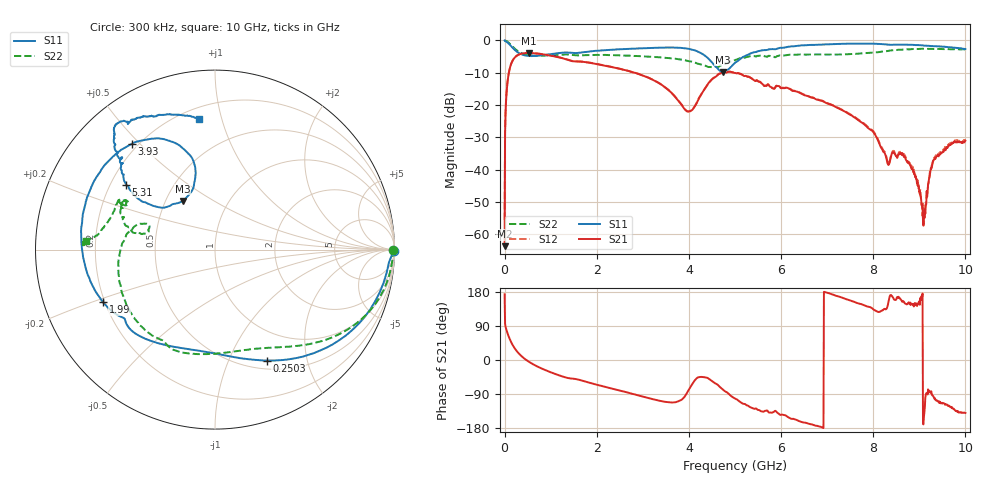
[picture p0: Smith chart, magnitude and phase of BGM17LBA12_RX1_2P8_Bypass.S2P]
!Agilent Technologies,E5071C,MY46316587,B.13.01
!Date: Fri Dec 08 10:53:09 2017
!Data & Calibration Information:
!Freq	S11:SOLT2(ON)	S21:SOLT2(ON)	S12:SOLT2(ON)	S22:SOLT2(ON)
!PortZ  Port1:50+j0  Port2:50+j0
!Above PortZ is port z conversion or system Z0 setting when saving the data.
!When reading, reference impedance value at option line is always used.
# Hz S dB R 50
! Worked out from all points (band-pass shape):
!   1001 points, 300 kHz to 10 GHz, reference 50 ohm
!   highest |S21| = -3.92 dB at 520.3 MHz (marker M1); lowest = -63.6 dB at 300 kHz (marker M2)
!   |S21| within 3 dB of the highest: 152.7 MHz to 1.832 GHz (1.679 GHz wide, 169 % of centre)
!   lowest |S11| = -9.8 dB at 4.73 GHz (marker M3), VSWR 1.96, Z = 30.6 + j18.5 ohm
!   |S11| at or under -10 dB: nowhere
!   |S22| runs from -8.3 to -0.1 dB; largest |S21 - S12| = 0.0035
!   S11 on the Smith chart (normalised r, x): 300 kHz: open; 250.3 MHz: 0.60, -1.39; 1.99 GHz: 0.19, -0.22; 3.93 GHz: 0.18, +0.47; 5.31 GHz: 0.26, +0.31; 10 GHz: 0.27, +0.85
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300000  -0.05 -0.5  -63.63 173.4  -55.45 129.5  -0.07 0.0
6.02982e7  -0.67 -21.2  -13.27 71.6  -13.19 71.6  -0.40 -16.2
7.02979e7  -0.78 -24.4  -12.05 68.1  -11.99 68.1  -0.50 -18.6
2.502925e8  -3.33 -65.1  -4.92 25.5  -4.89 25.4  -2.95 -48.7
5.202844e8  -4.83 -94.0  -3.92 -4.1  -3.90 -4.3  -4.60 -70.6
1.030269e9  -4.22 -123.0  -4.81 -33.8  -4.78 -33.9  -4.60 -98.4
1.67025e9  -3.73 -145.4  -6.61 -54.1  -6.55 -54.1  -4.63 -121.4
1.99024e9  -3.23 -154.9  -7.30 -64.9  -7.28 -64.9  -4.49 -129.8
3.3402e9  -2.27 156.7  -13.15 -107.0  -13.14 -106.6  -5.24 -169.6
3.930182e9  -2.50 128.3  -21.63 -92.6  -21.52 -92.3  -6.23 168.1
4.440167e9  -5.90 103.7  -12.97 -50.3  -12.98 -50.1  -8.26 161.1
4.730158e9  -9.77 123.5  -9.99 -77.3  -10.01 -77.3  -7.60 168.0
5.00015e9  -6.96 145.5  -10.08 -101.6  -10.05 -101.5  -6.11 165.6
5.310141e9  -4.24 143.8  -11.35 -123.1  -11.30 -122.9  -4.97 158.9
6.6701e9  -1.42 131.2  -17.73 -170.0  -17.62 -169.8  -4.38 154.1
7.810066e9  -1.02 127.5  -26.06 144.2  -25.81 144.1  -3.99 168.5
8.34005e9  -1.36 124.3  -38.34 158.2  -38.09 159.3  -3.23 174.6
8.66004e9  -1.30 122.7  -35.80 153.8  -35.09 149.1  -2.85 176.0
8.900033e9  -1.45 119.7  -41.36 150.1  -41.40 148.5  -2.68 177.0
9.100027e9  -1.62 116.7  -54.78 -150.2  -56.61 -147.1  -2.67 177.2
9.34002e9  -1.79 112.9  -36.38 -101.1  -36.67 -105.1  -2.70 177.3
1e10  -2.69 97.1  -31.03 -139.8  -30.92 -139.5  -2.88 176.3
